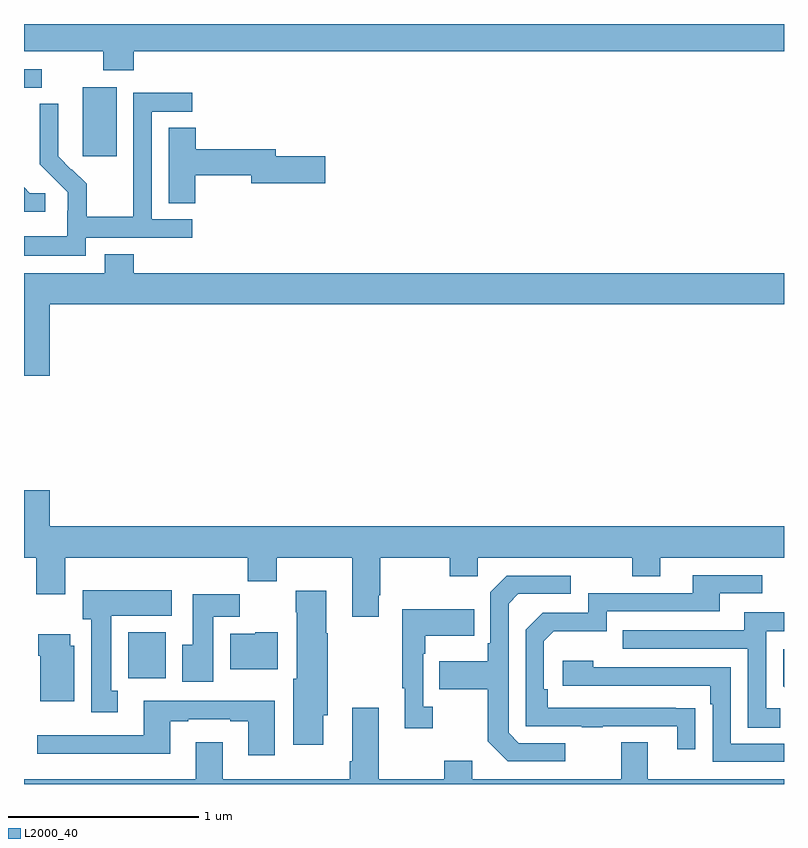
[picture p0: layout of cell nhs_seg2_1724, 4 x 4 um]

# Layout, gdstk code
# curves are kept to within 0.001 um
import gdstk
lib = gdstk.Library(unit=1e-6, precision=1e-09)
def R(c, l, rs):  # rectangles x0, y0, x1, y1
    for r in rs: c.add(gdstk.rectangle(r[:2], r[2:], *l))
def P(c, l, *ps):  # polygons
    for p in ps: c.add(gdstk.Polygon(p, *l))
L2000_40 = (2000, 40)

nhs_seg2_1724 = lib.new_cell('nhs_seg2_1724')
R(nhs_seg2_1724, L2000_40, [(201.548,624.356,201.745,624.598), (201.308,627.105,201.487,627.466), (201,627.465,201.094,627.561)])
P(nhs_seg2_1724, L2000_40, [(201.578,627.656),(205,627.656),(205,627.8),(201,627.8),(201,627.656),(201.418,627.656),(201.418,627.557),(201.578,627.557)],
  [(201.324,626.676),(201.886,626.676),(201.886,626.772),(201.672,626.772),(201.672,627.339),(201.886,627.339),(201.886,627.438),(201.576,627.438),(201.576,627.008),(201.574,627.008),(201.574,626.785),(201.329,626.785),(201.329,626.959),(201.252,627.036),(201.249,627.033),(201.179,627.104),(201.18,627.38),(201.084,627.38),(201.084,627.062),(201.23,626.914),(201.23,626.817),(201.228,626.817),(201.228,626.683),(201,626.683),(201,626.579),(201.324,626.579)],
  [(201.9,627.004),(202.196,627.004),(202.196,626.962),(202.585,626.962),(202.585,627.104),(202.324,627.104),(202.324,627.14),(201.905,627.14),(201.905,627.254),(201.761,627.254),(201.761,626.857),(201.9,626.857)],
  [(201.112,626.91),(201.03,626.91),(201,626.94),(201,626.813),(201.112,626.813)],
  [(201.136,626.324),(205,626.324),(205,626.488),(201.578,626.488),(201.578,626.587),(201.425,626.587),(201.425,626.488),(201,626.488),(201,625.95),(201.136,625.95)],
  [(202.867,624.793),(202.875,624.793),(202.875,624.992),(203.242,624.992),(203.242,624.893),(203.388,624.893),(203.388,624.992),(204.202,624.992),(204.202,624.893),(204.349,624.893),(204.349,624.992),(205,624.992),(205,625.156),(201.136,625.156),(201.136,625.345),(201,625.345),(201,624.992),(201.065,624.992),(201.065,624.798),(201.217,624.798),(201.217,624.992),(202.177,624.992),(202.177,624.868),(202.329,624.868),(202.329,624.992),(202.727,624.992),(202.727,624.681),(202.867,624.681)],
  [(204.533,624.2),(203.756,624.201),(203.756,624.298),(203.736,624.298),(203.736,624.552),(203.789,624.605),(204.066,624.605),(204.066,624.708),(204.661,624.708),(204.661,624.804),(204.886,624.804),(204.886,624.9),(204.521,624.9),(204.521,624.804),(203.97,624.804),(203.97,624.702),(203.73,624.702),(203.64,624.612),(203.64,624.105),(203.935,624.105),(203.935,624.1),(204.047,624.1),(204.047,624.105),(204.437,624.105),(204.437,623.982),(204.533,623.982)],
  [(203.848,624.015),(203.604,624.015),(203.55,624.069),(203.55,624.75),(203.601,624.801),(203.878,624.801),(203.878,624.897),(203.541,624.897),(203.454,624.81),(203.454,624.541),(203.442,624.541),(203.442,624.445),(203.185,624.445),(203.185,624.298),(203.442,624.298),(203.442,624.025),(203.547,623.919),(203.848,623.919)],
  [(201.493,624.29),(201.46,624.29),(201.46,624.686),(201.778,624.686),(201.778,624.82),(201.308,624.82),(201.308,624.666),(201.353,624.666),(201.353,624.177),(201.493,624.177)],
  [(202.576,624.162),(202.599,624.162),(202.599,624.593),(202.591,624.593),(202.591,624.817),(202.429,624.817),(202.429,624.704),(202.436,624.704),(202.436,624.354),(202.418,624.354),(202.418,624.006),(202.576,624.006)],
  [(201.997,624.68),(202.136,624.68),(202.136,624.799),(201.887,624.799),(201.887,624.532),(201.833,624.532),(201.833,624.339),(201.997,624.339)],
  [(203.152,624.206),(203.1,624.206),(203.1,624.485),(203.113,624.485),(203.113,624.581),(203.369,624.581),(203.369,624.721),(202.992,624.721),(202.992,624.305),(203.003,624.305),(203.003,624.093),(203.152,624.093)],
  [(204.979,624.198),(204.906,624.198),(204.906,624.603),(205,624.603),(205,624.703),(204.791,624.703),(204.791,624.609),(204.151,624.609),(204.151,624.513),(204.81,624.513),(204.81,624.097),(204.979,624.097)],
  [(202.336,624.598),(202.218,624.598),(202.218,624.592),(202.085,624.592),(202.085,624.404),(202.336,624.404)],
  [(201.265,624.528),(201.244,624.528),(201.244,624.589),(201.074,624.589),(201.074,624.476),(201.086,624.476),(201.086,624.236),(201.265,624.236)],
  [(205,624.508),(204.996,624.508),(204.996,624.314),(205,624.31)],
  [(205,624.012),(204.72,624.012),(204.72,624.414),(203.996,624.414),(203.996,624.448),(203.835,624.448),(203.835,624.318),(204.611,624.318),(204.611,624.221),(204.624,624.221),(204.624,623.916),(205,623.916)],
  [(202.321,624.238),(202.089,624.238),(202.089,624.237),(201.629,624.237),(201.629,624.057),(201.069,624.057),(201.069,623.96),(201.769,623.96),(201.769,624.129),(201.865,624.129),(201.865,624.141),(202.085,624.141),(202.085,624.129),(202.181,624.129),(202.181,623.952),(202.321,623.952)],
  [(205,623.824),(204.283,623.824),(204.283,624.019),(204.143,624.019),(204.143,623.824),(203.359,623.824),(203.359,623.923),(203.212,623.923),(203.212,623.824),(202.867,623.824),(202.867,624.202),(202.727,624.202),(202.727,623.92),(202.715,623.92),(202.715,623.824),(202.045,623.824),(202.045,624.019),(201.905,624.019),(201.905,623.824),(201,623.824),(201,623.8),(205,623.8)])

lib.write_gds('nhs_seg2_1724.gds')
